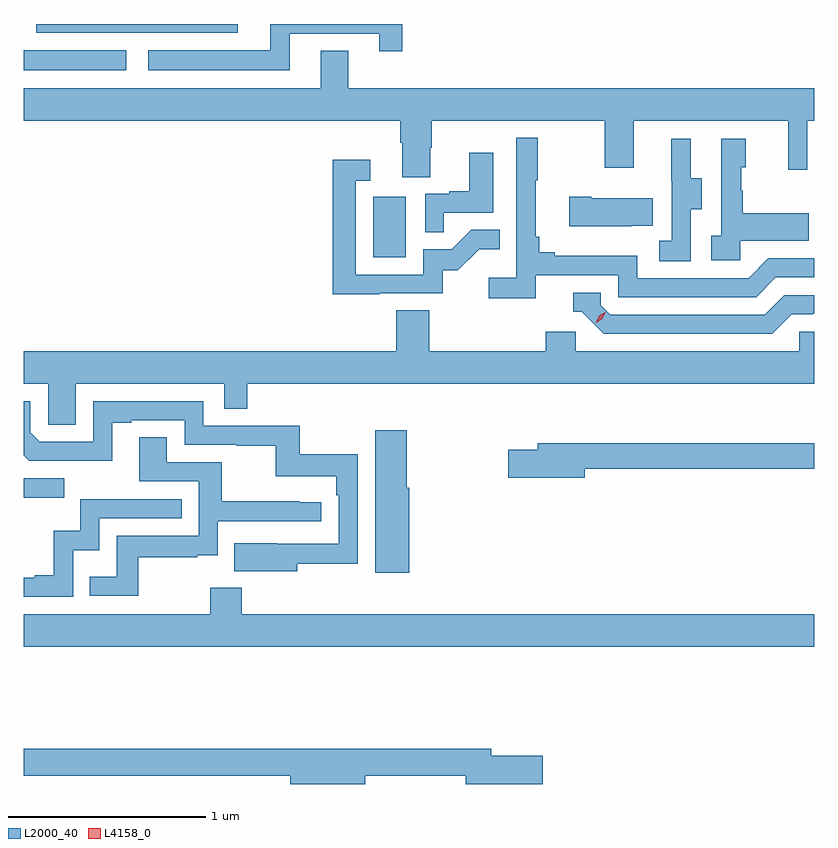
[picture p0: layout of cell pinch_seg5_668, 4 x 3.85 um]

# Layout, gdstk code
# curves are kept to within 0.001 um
import gdstk
lib = gdstk.Library(unit=1e-6, precision=1e-09)
def R(c, l, rs):  # rectangles x0, y0, x1, y1
    for r in rs: c.add(gdstk.rectangle(r[:2], r[2:], *l))
def P(c, l, *ps):  # polygons
    for p in ps: c.add(gdstk.Polygon(p, *l))
L2000_40 = (2000, 40)
L4158_0 = (4158, 0)

pinch_seg5_668 = lib.new_cell('pinch_seg5_668')
R(pinch_seg5_668, L2000_40, [(1033.347,836.204,1033.552,836.301), (1035.116,837.42,1035.28,837.727), (1033.347,838.367,1033.864,838.468), (1033.41,838.557,1034.43,838.601)])
P(pinch_seg5_668, L2000_40, [(1034.692,838.551),(1035.146,838.551),(1035.146,838.464),(1035.263,838.464),(1035.263,838.601),(1034.594,838.601),(1034.594,838.468),(1033.977,838.468),(1033.977,838.367),(1034.692,838.367)],
  [(1035.403,837.975),(1035.411,837.975),(1035.411,838.112),(1036.288,838.112),(1036.288,837.873),(1036.435,837.873),(1036.435,838.112),(1037.216,838.112),(1037.216,837.864),(1037.313,837.864),(1037.313,838.112),(1037.347,838.112),(1037.347,838.276),(1034.989,838.276),(1034.989,838.466),(1034.849,838.466),(1034.849,838.276),(1033.347,838.276),(1033.347,838.112),(1035.251,838.112),(1035.251,838),(1035.263,838),(1035.263,837.826),(1035.403,837.826)],
  [(1035.938,837.33),(1036.356,837.33),(1036.356,837.219),(1037.053,837.219),(1037.152,837.318),(1037.347,837.318),(1037.347,837.414),(1037.115,837.414),(1037.016,837.315),(1036.452,837.315),(1036.452,837.427),(1036.033,837.427),(1036.033,837.446),(1035.956,837.446),(1035.956,837.523),(1035.937,837.523),(1035.937,837.811),(1035.949,837.811),(1035.949,838.024),(1035.84,838.024),(1035.84,837.316),(1035.699,837.316),(1035.699,837.214),(1035.938,837.214)],
  [(1036.722,837.664),(1036.777,837.664),(1036.777,837.819),(1036.723,837.819),(1036.723,838.021),(1036.625,838.021),(1036.625,837.807),(1036.626,837.807),(1036.626,837.503),(1036.563,837.503),(1036.563,837.4),(1036.722,837.4)],
  [(1036.974,837.503),(1037.321,837.503),(1037.321,837.643),(1036.987,837.643),(1036.987,837.758),(1036.977,837.758),(1036.977,837.876),(1037.002,837.876),(1037.002,838.021),(1036.878,838.021),(1036.878,837.53),(1036.827,837.53),(1036.827,837.405),(1036.974,837.405)],
  [(1035.473,837.645),(1035.724,837.645),(1035.724,837.949),(1035.602,837.949),(1035.602,837.754),(1035.499,837.754),(1035.499,837.741),(1035.378,837.741),(1035.378,837.547),(1035.473,837.547)],
  [(1035.149,837.237),(1035.468,837.237),(1035.468,837.354),(1035.544,837.354),(1035.651,837.461),(1035.755,837.461),(1035.755,837.56),(1035.612,837.56),(1035.514,837.462),(1035.369,837.462),(1035.369,837.333),(1035.027,837.333),(1035.027,837.807),(1035.1,837.807),(1035.1,837.913),(1034.911,837.913),(1034.911,837.232),(1035.149,837.232)],
  [(1036.421,837.581),(1036.529,837.581),(1036.529,837.718),(1036.219,837.718),(1036.219,837.726),(1036.107,837.726),(1036.107,837.578),(1036.421,837.578)],
  [(1037.233,837.132),(1037.34,837.132),(1037.34,837.135),(1037.347,837.135),(1037.347,837.228),(1037.196,837.228),(1037.097,837.129),(1036.314,837.129),(1036.266,837.177),(1036.266,837.24),(1036.127,837.24),(1036.127,837.144),(1036.17,837.144),(1036.281,837.033),(1037.134,837.033)],
  [(1033.609,836.78),(1034.361,836.78),(1034.361,836.653),(1034.477,836.653),(1034.477,836.78),(1037.347,836.78),(1037.347,837.042),(1037.271,837.042),(1037.271,836.944),(1036.14,836.944),(1036.14,837.042),(1035.989,837.042),(1035.989,836.944),(1035.398,836.944),(1035.398,837.152),(1035.233,837.152),(1035.233,836.944),(1033.347,836.944),(1033.347,836.78),(1033.47,836.78),(1033.47,836.572),(1033.609,836.572)],
  [(1034.731,835.87),(1035.036,835.87),(1035.036,836.422),(1034.743,836.422),(1034.743,836.568),(1034.256,836.568),(1034.256,836.691),(1033.698,836.691),(1033.698,836.487),(1033.428,836.487),(1033.38,836.535),(1033.38,836.691),(1033.347,836.691),(1033.347,836.418),(1033.374,836.391),(1033.795,836.39),(1033.795,836.583),(1033.891,836.583),(1033.891,836.595),(1034.16,836.595),(1034.16,836.472),(1034.425,836.472),(1034.425,836.467),(1034.622,836.467),(1034.622,836.312),(1034.927,836.312),(1034.927,836.216),(1034.94,836.216),(1034.94,835.971),(1034.413,835.972),(1034.413,835.832),(1034.731,835.832)],
  [(1035.298,836.253),(1035.286,836.253),(1035.286,836.545),(1035.125,836.545),(1035.125,835.824),(1035.298,835.824)],
  [(1033.927,835.902),(1034.225,835.902),(1034.225,835.913),(1034.328,835.913),(1034.328,836.085),(1034.853,836.085),(1034.853,836.181),(1034.741,836.181),(1034.741,836.186),(1034.348,836.186),(1034.348,836.382),(1034.071,836.382),(1034.071,836.51),(1033.931,836.51),(1033.931,836.286),(1034.232,836.286),(1034.232,836.01),(1033.816,836.01),(1033.816,835.804),(1033.681,835.804),(1033.681,835.707),(1033.927,835.707)],
  [(1036.186,836.35),(1037.347,836.35),(1037.347,836.479),(1035.947,836.479),(1035.947,836.445),(1035.798,836.445),(1035.798,836.303),(1036.186,836.303)],
  [(1033.596,835.937),(1033.728,835.937),(1033.728,836.1),(1034.147,836.1),(1034.147,836.196),(1033.632,836.196),(1033.632,836.035),(1033.499,836.035),(1033.499,835.81),(1033.403,835.81),(1033.403,835.797),(1033.347,835.797),(1033.347,835.701),(1033.596,835.701)],
  [(1037.347,835.612),(1034.45,835.612),(1034.45,835.747),(1034.29,835.747),(1034.29,835.612),(1033.347,835.612),(1033.347,835.448),(1037.347,835.448)],
  [(1035.076,834.796),(1035.584,834.796),(1035.584,834.754),(1035.973,834.754),(1035.973,834.896),(1035.712,834.896),(1035.712,834.932),(1033.347,834.932),(1033.347,834.796),(1034.696,834.796),(1034.696,834.754),(1035.076,834.754)])
P(pinch_seg5_668, L4158_0, [(1036.243,837.09),(1036.243,837.091),(1036.26,837.123),(1036.291,837.142),(1036.291,837.142),(1036.291,837.142),(1036.274,837.109),(1036.243,837.09)])

lib.write_gds('pinch_seg5_668.gds')
